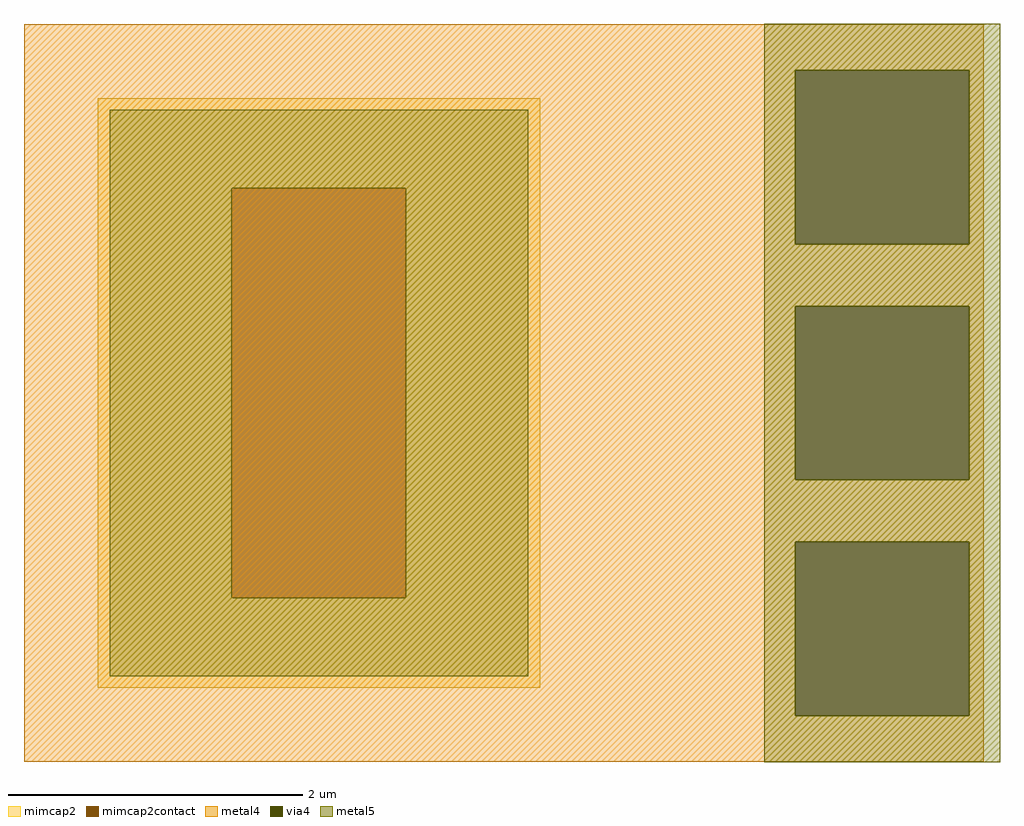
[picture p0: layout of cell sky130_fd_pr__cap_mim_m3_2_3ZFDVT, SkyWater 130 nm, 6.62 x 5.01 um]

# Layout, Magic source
magic
tech sky130A
magscale 1 2
<< metal4 >>
rect -651 438 651 500
rect -651 202 395 438
rect 631 202 651 438
rect -651 118 651 202
rect -651 -118 395 118
rect 631 -118 651 118
rect -651 -202 651 -118
rect -651 -438 395 -202
rect 631 -438 651 -202
rect -651 -500 651 -438
<< via4 >>
rect 395 202 631 438
rect 395 -118 631 118
rect 395 -438 631 -202
<< mimcap2 >>
rect -551 278 49 400
rect -551 -278 -369 278
rect -133 -278 49 278
rect -551 -400 49 -278
<< mimcap2contact >>
rect -369 -278 -133 278
<< metal5 >>
rect 353 438 673 501
rect -535 278 33 384
rect -535 -278 -369 278
rect -133 -278 33 278
rect -535 -384 33 -278
rect 353 202 395 438
rect 631 202 673 438
rect 353 118 673 202
rect 353 -118 395 118
rect 631 -118 673 118
rect 353 -202 673 -118
rect 353 -438 395 -202
rect 631 -438 673 -202
rect 353 -501 673 -438
<< properties >>
string FIXED_BBOX -651 -500 149 500
<< end >>
